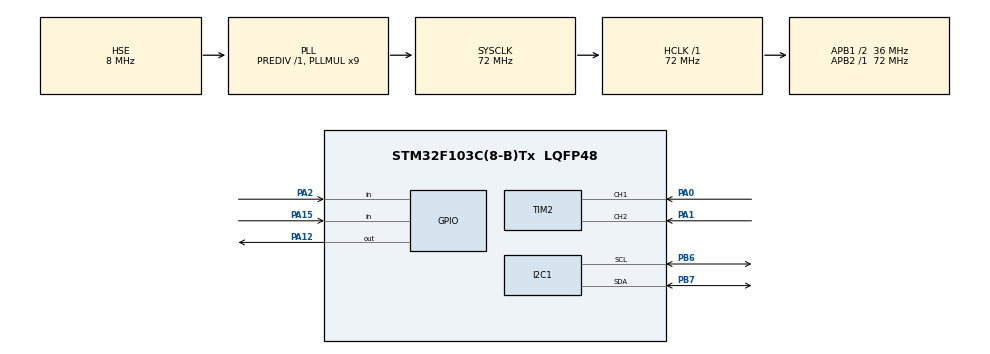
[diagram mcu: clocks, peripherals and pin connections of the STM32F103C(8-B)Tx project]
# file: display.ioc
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I2C1.I2C_Mode=I2C_Fast
Mcu.Family=STM32F1
Mcu.Name=STM32F103C(8-B)Tx
Mcu.Package=LQFP48
NVIC.PriorityGroup=NVIC_PRIORITYGROUP_4
PA0-WKUP.Signal=S_TIM2_CH1_ETR
PA1.Signal=S_TIM2_CH2
PA12.Signal=GPIO_Output
PA13.Mode=Serial_Wire
PA13.Signal=SYS_JTMS-SWDIO
PA14.Mode=Serial_Wire
PA14.Signal=SYS_JTCK-SWCLK
PA15.Signal=GPIO_Input
PA2.Signal=GPIO_Input
PB6.Mode=I2C
PB6.Signal=I2C1_SCL
PB7.Mode=I2C
PB7.Signal=I2C1_SDA
PD0-OSC_IN.Mode=HSE-External-Oscillator
PD0-OSC_IN.Signal=RCC_OSC_IN
PD1-OSC_OUT.Mode=HSE-External-Oscillator
PD1-OSC_OUT.Signal=RCC_OSC_OUT
ProjectManager.HeapSize=0x200
ProjectManager.StackSize=0x400
ProjectManager.TargetToolchain=STM32CubeIDE
RCC.AHBFreq_Value=72000000
RCC.APB1CLKDivider=RCC_HCLK_DIV2
RCC.APB1Freq_Value=36000000
RCC.APB1TimFreq_Value=72000000
RCC.APB2Freq_Value=72000000
RCC.APB2TimFreq_Value=72000000
RCC.HCLKFreq_Value=72000000
RCC.PLLMUL=RCC_PLL_MUL9
RCC.PLLSourceVirtual=RCC_PLLSOURCE_HSE
RCC.SYSCLKFreq_VALUE=72000000
RCC.SYSCLKSource=RCC_SYSCLKSOURCE_PLLCLK
RCC.USBFreq_Value=72000000
SH.S_TIM2_CH1_ETR.0=TIM2_CH1,Encoder_Interface
SH.S_TIM2_CH2.0=TIM2_CH2,Encoder_Interface
TIM1.Prescaler=71
VP_TIM1_VS_ClockSourceINT.Mode=Internal
board=custom

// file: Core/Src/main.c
/* USER CODE BEGIN Header */
/**
  ******************************************************************************
  * @file           : main.c
  * @brief          : Main program body
  ******************************************************************************
  * @attention
  *
  * Copyright (c) 2025 STMicroelectronics.
  * All rights reserved.
  *
  * This software is licensed under terms that can be found in the LICENSE file
  * in the root directory of this software component.
  * If no LICENSE file comes with this software, it is provided AS-IS.
  *
  ******************************************************************************
  */
/* USER CODE END Header */
#include "main.h"

/* USER CODE BEGIN Includes */
#include "fonts.h"
#include "ssd1306.h"
#include <stdio.h>
/* USER CODE END Includes */

/* USER CODE BEGIN PD */
#define TRIG_PIN GPIO_PIN_12
#define TRIG_PORT GPIOA
#define ECHO_PIN GPIO_PIN_15
#define ECHO_PORT GPIOA
#define HISTORYSIZE  64
#define MAXDEPTH  400

typedef enum {
    CONST_GRAPH_MODE,
    FLEX_GRAPH_MODE,
    MAX_DEPTH_MODE,
    MODE_SETTINGS
} DisplayMode;

DisplayMode currentMode = FLEX_GRAPH_MODE;

/* USER CODE END PD */

I2C_HandleTypeDef hi2c1;

TIM_HandleTypeDef htim1;
TIM_HandleTypeDef htim2;

void SystemClock_Config(void);
static void MX_GPIO_Init(void);
static void MX_I2C1_Init(void);
static void MX_TIM1_Init(void);
static void MX_TIM2_Init(void);

/* USER CODE BEGIN 0 */
void HAL_Delay_us(uint16_t us)
{
    __HAL_TIM_SET_COUNTER(&htim1, 0);
    while (__HAL_TIM_GET_COUNTER(&htim1) < us);
}

uint16_t getDistance(){
	uint16_t distance = 0;
	 //ЗАПУСКАЮЩИЙ ИМПУЛЬС
	HAL_GPIO_WritePin(TRIG_PORT, TRIG_PIN, GPIO_PIN_RESET);
	HAL_Delay_us(2);
	HAL_GPIO_WritePin(TRIG_PORT, TRIG_PIN, GPIO_PIN_SET);
	HAL_Delay_us(10);
	HAL_GPIO_WritePin(TRIG_PORT, TRIG_PIN, GPIO_PIN_RESET);

		      // Ждем начало Echo (низкий уровень)
	uint32_t timeout = HAL_GetTick();
	while (HAL_GPIO_ReadPin(ECHO_PORT, ECHO_PIN) && (HAL_GetTick() - timeout < 100));

		      // Ждем конец Echo (высокий уровень)
		timeout = HAL_GetTick();
		__HAL_TIM_SET_COUNTER(&htim1, 0);
		while (!HAL_GPIO_ReadPin(ECHO_PORT, ECHO_PIN) && (HAL_GetTick() - timeout < 100));

		if (HAL_GetTick() - timeout >= 100) {
		          distance = 55;  // Таймаут - все еще 55?
		} else {
		          // Измеряем длительность высокого уровня
		      uint32_t start_time = __HAL_TIM_GET_COUNTER(&htim1);
		      timeout = HAL_GetTick();
		      while (HAL_GPIO_ReadPin(ECHO_PORT, ECHO_PIN) && (HAL_GetTick() - timeout < 50));
		      uint32_t end_time = __HAL_TIM_GET_COUNTER(&htim1);

		      uint32_t pulse_duration = end_time - start_time;
		     distance = pulse_duration * 0.034 / 2;

		     if (distance > 400) distance = 390;
		      }

	return distance;
}

void graphAxes(uint32_t MaxFixedDepth){
	SSD1306_DrawLine(0, 0, 127, 0, SSD1306_COLOR_WHITE);
	SSD1306_DrawLine(0, 63, 127, 63, SSD1306_COLOR_WHITE);
	SSD1306_DrawLine(2, 0, 2, 63, SSD1306_COLOR_WHITE);
	    //  Y
	for(int i = 0; i <= 5; i++){
	    int y = i * 12; // 5 рисок на 60 пикселей
	    SSD1306_DrawLine(0, y, 5, y, SSD1306_COLOR_WHITE);
	    char depth_str[8];
	    int depth_value = i * (MaxFixedDepth / 5); //автомасштаб
	    sprintf(depth_str, "%d", depth_value);
	    SSD1306_GotoXY(8, y-3);
	    SSD1306_Puts(depth_str, &Font_7x10, SSD1306_COLOR_WHITE);
	 }

	    //  X
	 for (int x_mark = 0; x_mark < 128; x_mark += 10) {
	    SSD1306_DrawLine(x_mark, 60, x_mark, 63, SSD1306_COLOR_WHITE);
	    int distance_m = x_mark / 10;
	    if (distance_m <= 12) {
//	        char dist_str[4];
//	        sprintf(dist_str, "%d", distance_m);
//	        SSD1306_GotoXY(x_mark-3, 50);
//	        SSD1306_Puts(dist_str, &Font_7x10, SSD1306_COLOR_WHITE);
	    }
	 }
}

int scaleDepth(uint32_t depth_cm) {
    int pixels = (depth_cm * 63) / MAXDEPTH;
    if (pixels > 63) pixels = 63;
    return pixels+1;
}
int scaleDepthChanged(uint32_t depth_cm, const uint32_t MaxFixedDepth) {
    int pixels = (depth_cm * 63) / MaxFixedDepth;
    if (pixels > 63) pixels = 63;
    return pixels+1;
}
void drawConstGraph(const uint32_t DataCount, const uint32_t HistoryIndex, const uint32_t historyData[HISTORYSIZE]){
	graphAxes(MAXDEPTH);
	for(int i = 0; i < DataCount -1; i++){
		uint32_t NowIndex = (HistoryIndex + i) % HISTORYSIZE;
		uint32_t NextIndex = (HistoryIndex + i + 1) % HISTORYSIZE;
		int x0 = i * 2;
		int y0 = scaleDepth(historyData[NowIndex]);
		int x1 = (i + 1) * 2;
		int y1 = scaleDepth(historyData[NextIndex]);
		SSD1306_DrawLine(x0, y0, x1, y1, SSD1306_COLOR_WHITE);

		}
}

uint32_t findMaxDepthHistory(const uint32_t DataCount, const uint32_t HistoryIndex, const uint32_t historyData[HISTORYSIZE]){
	uint32_t MaxFixedDepth = 0;
	for(int i = 0; i < DataCount -1; i++){
		uint32_t NowIndex = (HistoryIndex + i) % HISTORYSIZE;
		if (MaxFixedDepth < historyData[NowIndex]){
			MaxFixedDepth = historyData[NowIndex];
		}
	}

	return  MaxFixedDepth + MaxFixedDepth/5;

}
void drawChangedGraph(const uint32_t DataCount, const uint32_t HistoryIndex, const uint32_t historyData[HISTORYSIZE]){
	uint32_t MaxFixedDepth = findMaxDepthHistory(DataCount, HistoryIndex, historyData);
	if (MaxFixedDepth < 50){MaxFixedDepth = 50;}
	graphAxes(MaxFixedDepth);
	for(int i = 0; i < DataCount -1; i++){
		uint32_t NowIndex = (HistoryIndex + i) % HISTORYSIZE;
		uint32_t NextIndex = (HistoryIndex + i + 1) % HISTORYSIZE;
		int x0 = i * 2;
		int y0 = scaleDepthChanged(historyData[NowIndex], MaxFixedDepth);
		int x1 = (i + 1) * 2;
		int y1 = scaleDepthChanged(historyData[NextIndex], MaxFixedDepth);
		SSD1306_DrawLine(x0, y0, x1, y1, SSD1306_COLOR_WHITE);

		}
}

int16_t encodefDiff(){
    static uint16_t lastData = 0;
    uint16_t currentData = __HAL_TIM_GET_COUNTER(&htim2);
    int16_t diff = (int16_t)(currentData - lastData);

    // Обработка переполнения
    if(diff > 32767) {
        diff -= 65536;
    }
    else if(diff < -32767) {
        diff += 65536;
    }

    lastData = currentData;
    return diff;
}

int16_t changerMode(){
    int16_t diff = encodefDiff();
    int16_t steps = diff;
    if (diff != 0){
        currentMode = (currentMode + steps + 400) % 4;  //  +400 чтобы избежать отрицательных
    }

    return diff/8;
}

/* USER CODE END 0 */

int main(void)
{

  /* MCU Configuration--------------------------------------------------------*/

  /* Reset of all peripherals, Initializes the Flash interface and the Systick. */
  HAL_Init();

  /* Configure the system clock */
  SystemClock_Config();

  /* Initialize all configured peripherals */
  MX_GPIO_Init();
  MX_I2C1_Init();
  MX_TIM1_Init();
  MX_TIM2_Init();
  /* USER CODE BEGIN 2 */
  SSD1306_Init();
  HAL_TIM_Base_Start(&htim1);
  HAL_TIM_Encoder_Start(&htim2, TIM_CHANNEL_ALL);
  uint32_t historyData[HISTORYSIZE];
  uint32_t HistoryIndex = 0;
  uint32_t DataCount = 0;
  uint16_t distance = 0;
  uint16_t MaxFixedDepth = 0;
  /* USER CODE END 2 */

  /* Infinite loop */
  /* USER CODE BEGIN WHILE */
  while (1)
  {
	  SSD1306_Clear();

	  distance = getDistance();
	  changerMode();
	  historyData[HistoryIndex] = distance;
	  HistoryIndex ++;
	  if(distance > MaxFixedDepth){MaxFixedDepth = distance;}
	  if(HistoryIndex >= HISTORYSIZE){
	  	HistoryIndex = 0;
	  }

	  if(DataCount < HISTORYSIZE){
	  	DataCount++;
	  }
	  char depth_str[15];
	  switch(currentMode){
	  case CONST_GRAPH_MODE:
		  drawConstGraph(DataCount, HistoryIndex, historyData);

		  sprintf(depth_str, "Const");
		  SSD1306_GotoXY(90, 50);
		  SSD1306_Puts(depth_str, &Font_7x10, SSD1306_COLOR_WHITE);
		  sprintf(depth_str, "%d cm", distance);
		  SSD1306_GotoXY(90, 40);
		  SSD1306_Puts(depth_str, &Font_7x10, SSD1306_COLOR_WHITE);
		  break;
	  case FLEX_GRAPH_MODE:
		  drawChangedGraph(DataCount, HistoryIndex, historyData);

		  sprintf(depth_str, "Flex");
		  SSD1306_GotoXY(90, 2);
		  SSD1306_Puts(depth_str, &Font_7x10, SSD1306_COLOR_WHITE);
		  sprintf(depth_str, "%d cm", distance);
		  SSD1306_GotoXY(90, 10);
		  SSD1306_Puts(depth_str, &Font_7x10, SSD1306_COLOR_WHITE);
		  break;
	  case MAX_DEPTH_MODE:
	  {
		  SSD1306_Clear();
		  sprintf(depth_str, "Info");
		  SSD1306_GotoXY(20, 10);
		  SSD1306_Puts(depth_str, &Font_11x18, SSD1306_COLOR_WHITE);
		  sprintf(depth_str, "%d cm", distance);
		  SSD1306_GotoXY(10, 10);
		  SSD1306_Puts(depth_str, &Font_11x18, SSD1306_COLOR_WHITE);
		  char max_depth_str[15];
		  sprintf(max_depth_str, "max %d cm", MaxFixedDepth);
		  SSD1306_GotoXY(10, 40);
		  SSD1306_Puts(max_depth_str, &Font_11x18, SSD1306_COLOR_WHITE);
		  break;
	  }
	  case MODE_SETTINGS:
		  SSD1306_Clear();
		  sprintf(depth_str, "Settings");
		  SSD1306_GotoXY(20, 10);
		  SSD1306_Puts(depth_str, &Font_11x18, SSD1306_COLOR_WHITE);

		  break;

	  }
	   SSD1306_UpdateScreen();
	   HAL_Delay(100);
    /* USER CODE END WHILE */

  }
}

void SystemClock_Config(void)
{
  RCC_OscInitTypeDef RCC_OscInitStruct = {0};
  RCC_ClkInitTypeDef RCC_ClkInitStruct = {0};

  /** Initializes the RCC Oscillators according to the specified parameters
  * in the RCC_OscInitTypeDef structure.
  */
  RCC_OscInitStruct.OscillatorType = RCC_OSCILLATORTYPE_HSE;
  RCC_OscInitStruct.HSEState = RCC_HSE_ON;
  RCC_OscInitStruct.HSEPredivValue = RCC_HSE_PREDIV_DIV1;
  RCC_OscInitStruct.HSIState = RCC_HSI_ON;
  RCC_OscInitStruct.PLL.PLLState = RCC_PLL_ON;
  RCC_OscInitStruct.PLL.PLLSource = RCC_PLLSOURCE_HSE;
  RCC_OscInitStruct.PLL.PLLMUL = RCC_PLL_MUL9;
  if (HAL_RCC_OscConfig(&RCC_OscInitStruct) != HAL_OK)
  {
    Error_Handler();
  }

  /** Initializes the CPU, AHB and APB buses clocks
  */
  RCC_ClkInitStruct.ClockType = RCC_CLOCKTYPE_HCLK|RCC_CLOCKTYPE_SYSCLK
                              |RCC_CLOCKTYPE_PCLK1|RCC_CLOCKTYPE_PCLK2;
  RCC_ClkInitStruct.SYSCLKSource = RCC_SYSCLKSOURCE_PLLCLK;
  RCC_ClkInitStruct.AHBCLKDivider = RCC_SYSCLK_DIV1;
  RCC_ClkInitStruct.APB1CLKDivider = RCC_HCLK_DIV2;
  RCC_ClkInitStruct.APB2CLKDivider = RCC_HCLK_DIV1;

  if (HAL_RCC_ClockConfig(&RCC_ClkInitStruct, FLASH_LATENCY_2) != HAL_OK)
  {
    Error_Handler();
  }
}

static void MX_I2C1_Init(void)
{

  hi2c1.Instance = I2C1;
  hi2c1.Init.ClockSpeed = 400000;
  hi2c1.Init.DutyCycle = I2C_DUTYCYCLE_2;
  hi2c1.Init.OwnAddress1 = 0;
  hi2c1.Init.AddressingMode = I2C_ADDRESSINGMODE_7BIT;
  hi2c1.Init.DualAddressMode = I2C_DUALADDRESS_DISABLE;
  hi2c1.Init.OwnAddress2 = 0;
  hi2c1.Init.GeneralCallMode = I2C_GENERALCALL_DISABLE;
  hi2c1.Init.NoStretchMode = I2C_NOSTRETCH_DISABLE;
  if (HAL_I2C_Init(&hi2c1) != HAL_OK)
  {
    Error_Handler();
  }

}

static void MX_TIM1_Init(void)
{

  TIM_ClockConfigTypeDef sClockSourceConfig = {0};
  TIM_MasterConfigTypeDef sMasterConfig = {0};

  htim1.Instance = TIM1;
  htim1.Init.Prescaler = 71;
  htim1.Init.CounterMode = TIM_COUNTERMODE_UP;
  htim1.Init.Period = 65535;
  htim1.Init.ClockDivision = TIM_CLOCKDIVISION_DIV1;
  htim1.Init.RepetitionCounter = 0;
  htim1.Init.AutoReloadPreload = TIM_AUTORELOAD_PRELOAD_DISABLE;
  if (HAL_TIM_Base_Init(&htim1) != HAL_OK)
  {
    Error_Handler();
  }
  sClockSourceConfig.ClockSource = TIM_CLOCKSOURCE_INTERNAL;
  if (HAL_TIM_ConfigClockSource(&htim1, &sClockSourceConfig) != HAL_OK)
  {
    Error_Handler();
  }
  sMasterConfig.MasterOutputTrigger = TIM_TRGO_RESET;
  sMasterConfig.MasterSlaveMode = TIM_MASTERSLAVEMODE_DISABLE;
  if (HAL_TIMEx_MasterConfigSynchronization(&htim1, &sMasterConfig) != HAL_OK)
  {
    Error_Handler();
  }

}

static void MX_TIM2_Init(void)
{

  TIM_Encoder_InitTypeDef sConfig = {0};
  TIM_MasterConfigTypeDef sMasterConfig = {0};

  htim2.Instance = TIM2;
  htim2.Init.Prescaler = 0;
  htim2.Init.CounterMode = TIM_COUNTERMODE_UP;
  htim2.Init.Period = 65535;
  htim2.Init.ClockDivision = TIM_CLOCKDIVISION_DIV1;
  htim2.Init.AutoReloadPreload = TIM_AUTORELOAD_PRELOAD_DISABLE;
  sConfig.EncoderMode = TIM_ENCODERMODE_TI1;
  sConfig.IC1Polarity = TIM_ICPOLARITY_RISING;
  sConfig.IC1Selection = TIM_ICSELECTION_DIRECTTI;
  sConfig.IC1Prescaler = TIM_ICPSC_DIV1;
  sConfig.IC1Filter = 0;
  sConfig.IC2Polarity = TIM_ICPOLARITY_RISING;
  sConfig.IC2Selection = TIM_ICSELECTION_DIRECTTI;
  sConfig.IC2Prescaler = TIM_ICPSC_DIV1;
  sConfig.IC2Filter = 0;
  if (HAL_TIM_Encoder_Init(&htim2, &sConfig) != HAL_OK)
  {
    Error_Handler();
  }
  sMasterConfig.MasterOutputTrigger = TIM_TRGO_RESET;
  sMasterConfig.MasterSlaveMode = TIM_MASTERSLAVEMODE_DISABLE;
  if (HAL_TIMEx_MasterConfigSynchronization(&htim2, &sMasterConfig) != HAL_OK)
  {
    Error_Handler();
  }

}

static void MX_GPIO_Init(void)
{
  GPIO_InitTypeDef GPIO_InitStruct = {0};

  /* GPIO Ports Clock Enable */
  __HAL_RCC_GPIOD_CLK_ENABLE();
  __HAL_RCC_GPIOA_CLK_ENABLE();
  __HAL_RCC_GPIOB_CLK_ENABLE();

  /*Configure GPIO pin Output Level */
  HAL_GPIO_WritePin(GPIOA, GPIO_PIN_12, GPIO_PIN_RESET);

  /*Configure GPIO pins : PA2 PA15 */
  GPIO_InitStruct.Pin = GPIO_PIN_2|GPIO_PIN_15;
  GPIO_InitStruct.Mode = GPIO_MODE_INPUT;
  GPIO_InitStruct.Pull = GPIO_NOPULL;
  HAL_GPIO_Init(GPIOA, &GPIO_InitStruct);

  /*Configure GPIO pin : PA12 */
  GPIO_InitStruct.Pin = GPIO_PIN_12;
  GPIO_InitStruct.Mode = GPIO_MODE_OUTPUT_PP;
  GPIO_InitStruct.Pull = GPIO_NOPULL;
  GPIO_InitStruct.Speed = GPIO_SPEED_FREQ_LOW;
  HAL_GPIO_Init(GPIOA, &GPIO_InitStruct);

}

void Error_Handler(void)
{
  __disable_irq();
  while (1)
  {
  }
}
